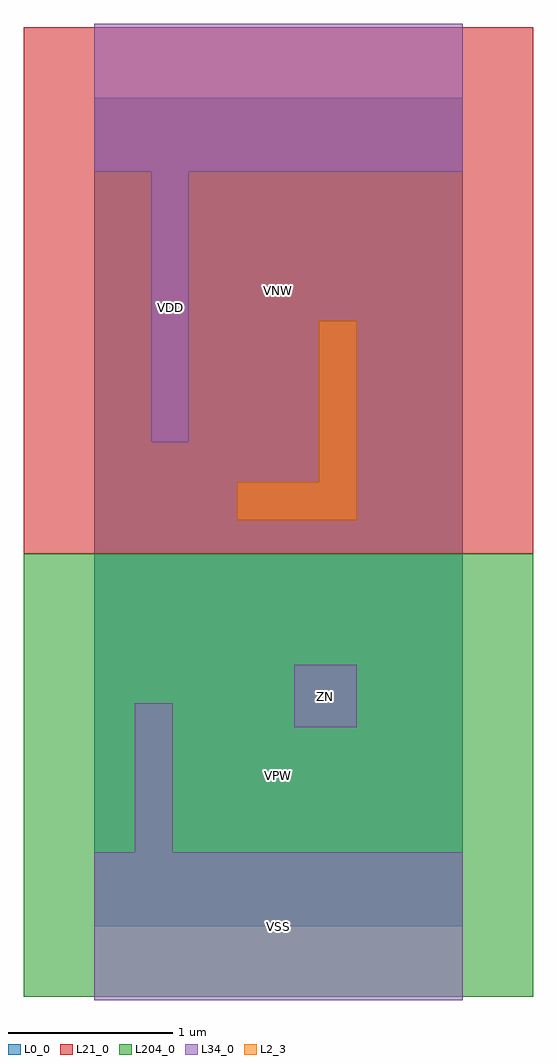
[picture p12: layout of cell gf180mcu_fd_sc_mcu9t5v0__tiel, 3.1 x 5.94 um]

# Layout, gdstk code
import gdstk
lib = gdstk.Library(unit=1e-6, precision=1e-09)
def R(c, l, rs):  # rectangles x0, y0, x1, y1
    for r in rs: c.add(gdstk.rectangle(r[:2], r[2:], *l))
L0_0 = (0, 0)
L2_3 = (2, 3)
L21_0 = (21, 0)
L34_0 = (34, 0)
L204_0 = (204, 0)

gf180mcu_fd_sc_mcu9t5v0_ = lib.new_cell('gf180mcu_fd_sc_mcu9t5v0__tiel')
R(gf180mcu_fd_sc_mcu9t5v0_, L0_0, [(0,0,2.24,5.04)])
R(gf180mcu_fd_sc_mcu9t5v0_, L2_3, [(0.87,2.47,1.595,2.7), (1.365,2.7,1.595,3.685)])
R(gf180mcu_fd_sc_mcu9t5v0_, L21_0, [(-0.43,2.265,2.67,5.47)])
R(gf180mcu_fd_sc_mcu9t5v0_, L34_0, [(0,-0.45,2.24,0.45), (0.245,0.45,0.475,1.355), (1.215,1.21,1.595,1.59), (0.345,2.945,0.575,4.59), (0,4.59,2.24,5.49)])
R(gf180mcu_fd_sc_mcu9t5v0_, L204_0, [(-0.43,-0.43,2.67,2.265)])
gf180mcu_fd_sc_mcu9t5v0_.add(gdstk.Label('ZN', (1.405,1.4), layer=34, texttype=10))
gf180mcu_fd_sc_mcu9t5v0_.add(gdstk.Label('VDD', (0.46,3.767), layer=34, texttype=10))
gf180mcu_fd_sc_mcu9t5v0_.add(gdstk.Label('VSS', (1.12,0), layer=34, texttype=10))
gf180mcu_fd_sc_mcu9t5v0_.add(gdstk.Label('VNW', (1.12,3.867), layer=3, texttype=1))
gf180mcu_fd_sc_mcu9t5v0_.add(gdstk.Label('VPW', (1.12,0.917), layer=4, texttype=1))

lib.write_gds('gf180mcu_fd_sc_mcu9t5v0__tiel.gds')
